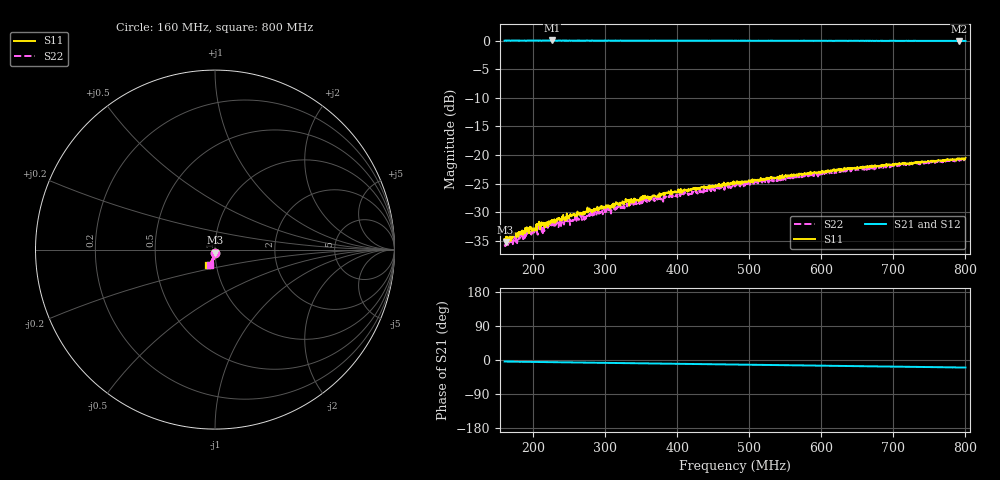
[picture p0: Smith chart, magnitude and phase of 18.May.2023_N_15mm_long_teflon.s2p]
!Keysight Technologies N9950B: A.12.38
!Date: Thursday, 18 May 2023 17:11:17
!Timezone: (UTC-06:00) Central Time (US & Canada)
!Model: N9950B
!Serial: MY61131330
!GPS Latitude:
!GPS Longitude:
!GPS TimeStamp: 0001-01-01 00:00:00Z
!GPS Seconds Since Last Read: 0
!CHECKSUM:0096441179
!Correction: S11(ON U)S21(ON U)S12(ON U)S22(ON U)
!S2P File: Measurements:S11,S21,S12,S22:
# Hz S DB R 50
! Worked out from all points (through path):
!   1001 points, 160 MHz to 800 MHz, reference 50 ohm
!   highest |S21| = 0.01 dB at 225.9 MHz (marker M1); lowest = -0.1 dB at 791.7 MHz (marker M2)
!   group delay of S21, straight-line fit = 68.8 ps
!   lowest |S11| = -35.2 dB at 161.3 MHz (marker M3), VSWR 1.04, Z = 50.1 - j1.75 ohm
!   |S11| at or under -10 dB: start of sweep to end of sweep
!   |S22| runs from -35.9 to -20.6 dB; largest |S21 - S12| = 0.0058
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1.6e8  -34.63 -94.9  -0.02 -4.1  -0.03 -4.1  -35.60 -98.8
1.6128e8  -35.16 -85.4  -0.02 -4.0  -0.02 -4.1  -35.84 -91.4
1.7152e8  -34.32 -92.8  -0.01 -4.4  -0.01 -4.4  -35.53 -95.5
1.7472e8  -33.85 -90.4  -0.01 -4.4  -0.04 -4.5  -34.40 -93.9
1.8752e8  -33.19 -95.2  -0.00 -4.8  -0.02 -4.7  -33.58 -89.3
1.9584e8  -32.68 -87.7  -0.01 -4.9  -0.01 -5.0  -33.47 -90.6
2.0288e8  -32.83 -90.3  -0.01 -5.0  -0.01 -5.1  -33.27 -95.6
2.0864e8  -32.09 -93.0  -0.01 -5.2  -0.04 -5.2  -32.83 -94.0
2.176e8  -31.96 -89.8  0.00 -5.6  -0.04 -5.6  -32.47 -96.8
2.2592e8  -31.70 -94.6  0.01 -5.6  -0.02 -5.7  -32.28 -92.3
2.3488e8  -30.96 -90.1  -0.02 -5.9  -0.03 -5.9  -32.56 -95.0
2.6688e8  -30.35 -93.8  -0.02 -6.7  -0.02 -6.7  -30.90 -96.3
3.2896e8  -28.18 -95.1  -0.04 -8.2  -0.03 -8.3  -28.91 -98.5
3.36e8  -27.67 -96.7  -0.04 -8.5  -0.03 -8.4  -28.38 -97.8
3.5392e8  -27.37 -98.1  -0.03 -8.9  -0.04 -8.9  -27.92 -98.2
3.7376e8  -27.14 -98.7  -0.03 -9.3  -0.04 -9.4  -27.89 -100.8
3.8528e8  -26.63 -98.0  -0.03 -9.7  -0.05 -9.5  -27.46 -98.4
4.8e8  -24.95 -101.2  -0.04 -12.0  -0.05 -12.1  -25.48 -101.5
5.8688e8  -23.11 -105.7  -0.05 -14.6  -0.05 -14.6  -23.52 -103.9
6.9376e8  -21.69 -109.0  -0.07 -17.2  -0.07 -17.3  -21.94 -105.2
7.9168e8  -20.73 -112.2  -0.09 -19.7  -0.08 -19.7  -21.00 -107.5
8e8  -20.50 -112.7  -0.07 -20.0  -0.08 -19.8  -20.69 -107.5
